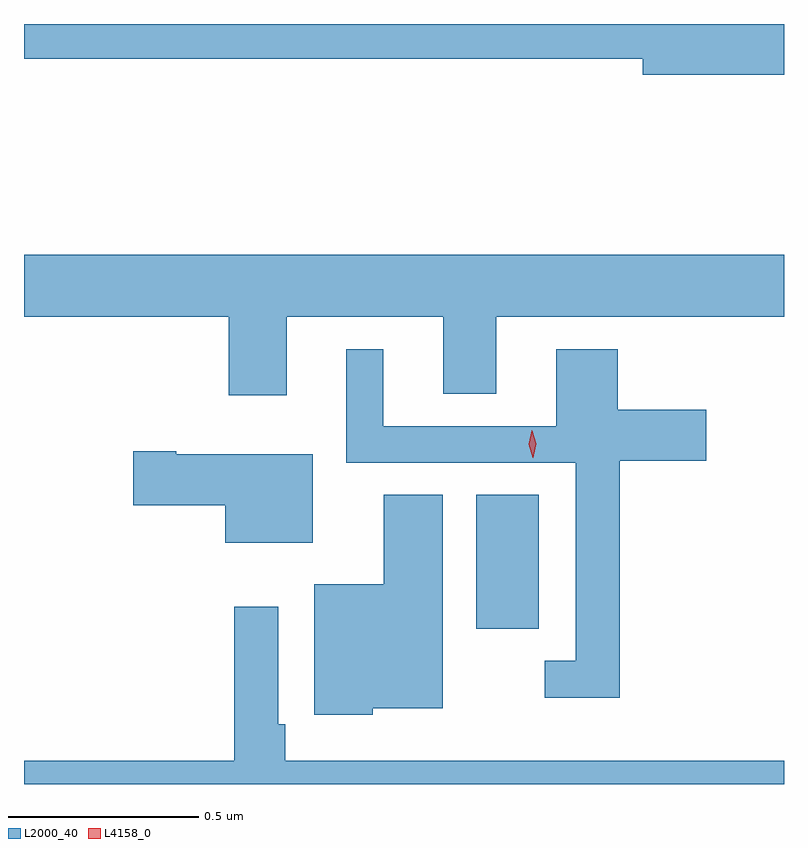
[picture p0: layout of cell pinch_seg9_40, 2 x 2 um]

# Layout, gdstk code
import gdstk
lib = gdstk.Library(unit=1e-6, precision=1e-09)
def R(c, l, rs):  # rectangles x0, y0, x1, y1
    for r in rs: c.add(gdstk.rectangle(r[:2], r[2:], *l))
def P(c, l, *ps):  # polygons
    for p in ps: c.add(gdstk.Polygon(p, *l))
L2000_40 = (2000, 40)
L4158_0 = (4158, 0)

pinch_seg9_40 = lib.new_cell('pinch_seg9_40')
R(pinch_seg9_40, L2000_40, [(912.824,1210.251,912.988,1210.604)])
P(pinch_seg9_40, L2000_40, [(913.634,1211.843),(911.634,1211.843),(911.634,1211.752),(913.262,1211.752),(913.262,1211.71),(913.634,1211.71)],
  [(912.325,1211.072),(912.737,1211.072),(912.737,1210.87),(912.877,1210.87),(912.877,1211.072),(913.634,1211.072),(913.634,1211.236),(911.634,1211.236),(911.634,1211.072),(912.173,1211.072),(912.173,1210.866),(912.325,1210.866)],
  [(913.202,1210.694),(913.429,1210.694),(913.429,1210.828),(913.196,1210.828),(913.196,1210.987),(913.034,1210.987),(913.034,1210.785),(912.58,1210.785),(912.58,1210.987),(912.482,1210.987),(912.482,1210.689),(913.086,1210.689),(913.086,1210.167),(913.005,1210.167),(913.005,1210.07),(913.202,1210.07)],
  [(912.394,1210.711),(912.034,1210.711),(912.034,1210.719),(911.922,1210.719),(911.922,1210.577),(912.164,1210.577),(912.164,1210.478),(912.394,1210.478)],
  [(912.552,1210.043),(912.736,1210.043),(912.736,1210.604),(912.581,1210.604),(912.581,1210.369),(912.398,1210.369),(912.398,1210.025),(912.552,1210.025)],
  [(913.634,1209.904),(912.321,1209.904),(912.321,1210),(912.303,1210),(912.303,1210.309),(912.187,1210.309),(912.187,1209.904),(911.634,1209.904),(911.634,1209.843),(913.634,1209.843)])
P(pinch_seg9_40, L4158_0, [(912.973,1210.701),(912.973,1210.702),(912.962,1210.737),(912.97,1210.773),(912.97,1210.774),(912.971,1210.773),(912.982,1210.738),(912.974,1210.702)])

lib.write_gds('pinch_seg9_40.gds')
